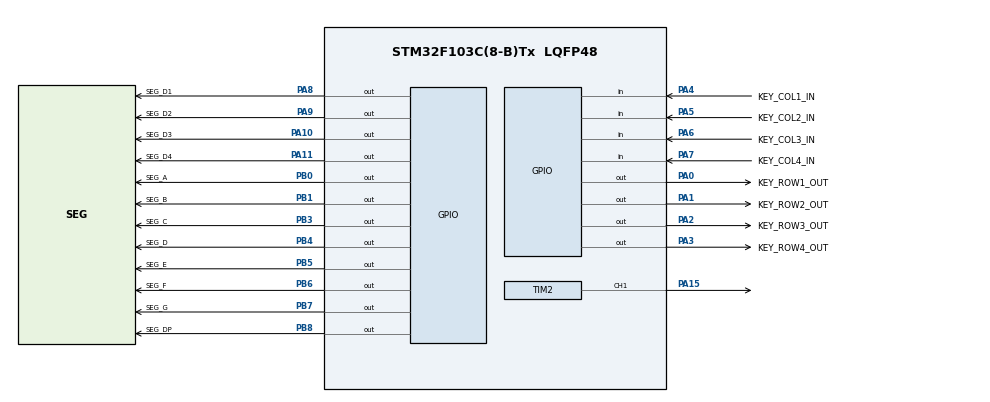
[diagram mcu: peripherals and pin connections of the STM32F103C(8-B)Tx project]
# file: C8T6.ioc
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Mcu.Family=STM32F1
Mcu.Name=STM32F103C(8-B)Tx
Mcu.Package=LQFP48
NVIC.PriorityGroup=NVIC_PRIORITYGROUP_4
NVIC.TIM1_UP_IRQn=true\:0\:0\:false\:false\:true\:true\:true\:true
PA0-WKUP.GPIO_Label=KEY_ROW1_OUT
PA0-WKUP.GPIO_Speed=GPIO_SPEED_FREQ_HIGH
PA0-WKUP.PinState=GPIO_PIN_SET
PA0-WKUP.Signal=GPIO_Output
PA1.GPIO_Label=KEY_ROW2_OUT
PA1.GPIO_Speed=GPIO_SPEED_FREQ_HIGH
PA1.PinState=GPIO_PIN_SET
PA1.Signal=GPIO_Output
PA10.GPIO_Label=SEG_D3
PA10.GPIO_Speed=GPIO_SPEED_FREQ_HIGH
PA10.Signal=GPIO_Output
PA11.GPIO_Label=SEG_D4
PA11.GPIO_Speed=GPIO_SPEED_FREQ_HIGH
PA11.Signal=GPIO_Output
PA13.Mode=Serial_Wire
PA13.Signal=SYS_JTMS-SWDIO
PA14.Mode=Serial_Wire
PA14.Signal=SYS_JTCK-SWCLK
PA15.Signal=S_TIM2_CH1_ETR
PA2.GPIO_Label=KEY_ROW3_OUT
PA2.GPIO_Speed=GPIO_SPEED_FREQ_HIGH
PA2.PinState=GPIO_PIN_SET
PA2.Signal=GPIO_Output
PA3.GPIO_Label=KEY_ROW4_OUT
PA3.GPIO_Speed=GPIO_SPEED_FREQ_HIGH
PA3.PinState=GPIO_PIN_SET
PA3.Signal=GPIO_Output
PA4.GPIO_Label=KEY_COL1_IN
PA4.GPIO_PuPd=GPIO_PULLUP
PA4.Signal=GPIO_Input
PA5.GPIO_Label=KEY_COL2_IN
PA5.GPIO_PuPd=GPIO_PULLUP
PA5.Signal=GPIO_Input
PA6.GPIO_Label=KEY_COL3_IN
PA6.GPIO_PuPd=GPIO_PULLUP
PA6.Signal=GPIO_Input
PA7.GPIO_Label=KEY_COL4_IN
PA7.GPIO_PuPd=GPIO_PULLUP
PA7.Signal=GPIO_Input
PA8.GPIO_Label=SEG_D1
PA8.GPIO_Speed=GPIO_SPEED_FREQ_HIGH
PA8.Signal=GPIO_Output
PA9.GPIO_Label=SEG_D2
PA9.GPIO_Speed=GPIO_SPEED_FREQ_HIGH
PA9.Signal=GPIO_Output
PB0.GPIO_Label=SEG_A
PB0.GPIO_Speed=GPIO_SPEED_FREQ_HIGH
PB0.Signal=GPIO_Output
PB1.GPIO_Label=SEG_B
PB1.GPIO_Speed=GPIO_SPEED_FREQ_HIGH
PB1.Signal=GPIO_Output
PB3.GPIO_Label=SEG_C
PB3.GPIO_Speed=GPIO_SPEED_FREQ_HIGH
PB3.Signal=GPIO_Output
PB4.GPIO_Label=SEG_D
PB4.GPIO_Speed=GPIO_SPEED_FREQ_HIGH
PB4.Signal=GPIO_Output
PB5.GPIO_Label=SEG_E
PB5.GPIO_Speed=GPIO_SPEED_FREQ_HIGH
PB5.Signal=GPIO_Output
PB6.GPIO_Label=SEG_F
PB6.GPIO_Speed=GPIO_SPEED_FREQ_HIGH
PB6.Signal=GPIO_Output
PB7.GPIO_Label=SEG_G
PB7.GPIO_Speed=GPIO_SPEED_FREQ_HIGH
PB7.Signal=GPIO_Output
PB8.GPIO_Label=SEG_DP
PB8.GPIO_Speed=GPIO_SPEED_FREQ_HIGH
PB8.Signal=GPIO_Output
PD0-OSC_IN.Mode=HSE-External-Oscillator
PD0-OSC_IN.Signal=RCC_OSC_IN
PD1-OSC_OUT.Mode=HSE-External-Oscillator
PD1-OSC_OUT.Signal=RCC_OSC_OUT
ProjectManager.HeapSize=0x200
ProjectManager.StackSize=0x400
ProjectManager.TargetToolchain=MDK-ARM V5
RCC.APB1Freq_Value=8000000
RCC.APB2Freq_Value=8000000
SH.S_TIM2_CH1_ETR.0=TIM2_CH1,PWM Generation1 CH1
TIM1.Period=1000-1
TIM1.Prescaler=72-1
TIM2.Channel-PWM\ Generation1\ CH1=TIM_CHANNEL_1
TIM2.Period=72-1
TIM2.Prescaler=72-1
VP_TIM1_VS_ClockSourceINT.Mode=Internal
VP_TIM2_VS_ClockSourceINT.Mode=Internal
board=custom

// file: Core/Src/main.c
/* USER CODE BEGIN Header */
/**
 ******************************************************************************
 * @file           : main.c
 * @brief          : Main program body
 ******************************************************************************
 * @attention
 *
 * Copyright (c) 2025 STMicroelectronics.
 * All rights reserved.
 *
 * This software is licensed under terms that can be found in the LICENSE file
 * in the root directory of this software component.
 * If no LICENSE file comes with this software, it is provided AS-IS.
 *
 ******************************************************************************
 */
/* USER CODE END Header */
#include "main.h"
#include "tim.h"
#include "gpio.h"

/* USER CODE BEGIN Includes */
#include "keypad.h"
#include "seg.h"
#include "oled.h"
/* USER CODE END Includes */

/* USER CODE BEGIN PV */
uint8_t g_key_num = 0;
float g_target_v = 0.0;
/* USER CODE END PV */

void SystemClock_Config(void);
/* USER CODE BEGIN PFP */
void PWM_SetVoltage(float voltage);

/* USER CODE END PFP */

int main(void)
{

    /* MCU Configuration--------------------------------------------------------*/

    /* Reset of all peripherals, Initializes the Flash interface and the Systick. */
    HAL_Init();

    /* Configure the system clock */
    SystemClock_Config();

    /* USER CODE BEGIN SysInit */

    OLED_Init();
    /* USER CODE END SysInit */

    /* Initialize all configured peripherals */
    MX_GPIO_Init();
    MX_TIM1_Init();
    MX_TIM2_Init();
    /* USER CODE BEGIN 2 */
    HAL_TIM_Base_Start_IT(&htim1);
    HAL_TIM_PWM_Start(&htim2, TIM_CHANNEL_1);
    /* USER CODE END 2 */

    /* Infinite loop */
    /* USER CODE BEGIN WHILE */
    while (1)
    {
        /* 按键扫描 */
        g_key_num = Key_Scan();
        switch (g_key_num)
        {
        case 11:
            g_target_v += 0.1;
            break;
        case 12:
            g_target_v -= 0.1;
            break;
        case 13:
            g_target_v = 0;
            break;
        case 14:
            g_target_v = 3.3;
            break;

        default:
            break;
        }
        if (g_target_v <0)
        {
            g_target_v = 0;
        }
        else if (g_target_v > 3.3)
        {
            g_target_v = 3.3;
        }
        PWM_SetVoltage(g_target_v);
        SEG_DisplayFloat(g_target_v);
        OLED_ShowNum(1, 1, g_key_num, 2);

        /* USER CODE END WHILE */

    }
}

void SystemClock_Config(void)
{
    RCC_OscInitTypeDef RCC_OscInitStruct = {0};
    RCC_ClkInitTypeDef RCC_ClkInitStruct = {0};

    /** Initializes the RCC Oscillators according to the specified parameters
     * in the RCC_OscInitTypeDef structure.
     */
    RCC_OscInitStruct.OscillatorType = RCC_OSCILLATORTYPE_HSI;
    RCC_OscInitStruct.HSIState = RCC_HSI_ON;
    RCC_OscInitStruct.HSICalibrationValue = RCC_HSICALIBRATION_DEFAULT;
    RCC_OscInitStruct.PLL.PLLState = RCC_PLL_NONE;
    if (HAL_RCC_OscConfig(&RCC_OscInitStruct) != HAL_OK)
    {
        Error_Handler();
    }

    /** Initializes the CPU, AHB and APB buses clocks
     */
    RCC_ClkInitStruct.ClockType = RCC_CLOCKTYPE_HCLK | RCC_CLOCKTYPE_SYSCLK | RCC_CLOCKTYPE_PCLK1 | RCC_CLOCKTYPE_PCLK2;
    RCC_ClkInitStruct.SYSCLKSource = RCC_SYSCLKSOURCE_HSI;
    RCC_ClkInitStruct.AHBCLKDivider = RCC_SYSCLK_DIV1;
    RCC_ClkInitStruct.APB1CLKDivider = RCC_HCLK_DIV1;
    RCC_ClkInitStruct.APB2CLKDivider = RCC_HCLK_DIV1;

    if (HAL_RCC_ClockConfig(&RCC_ClkInitStruct, FLASH_LATENCY_0) != HAL_OK)
    {
        Error_Handler();
    }
}

/* USER CODE BEGIN 4 */
void PWM_SetVoltage(float voltage)
{
    if(voltage > 3.3f) voltage = 3.3f;
    if(voltage < 0.0f) voltage = 0.0f;

    uint16_t duty = (uint16_t)(voltage / 3.3f * htim2.Init.Period);
    __HAL_TIM_SET_COMPARE(&htim2, TIM_CHANNEL_1, duty);
}

void HAL_TIM_PeriodElapsedCallback(TIM_HandleTypeDef *htim)
{
    if (htim->Instance == TIM1)
    {
        SEG_Scan();
    }
}
/* USER CODE END 4 */

void Error_Handler(void)
{
    __disable_irq();
    while (1)
    {
    }
}
